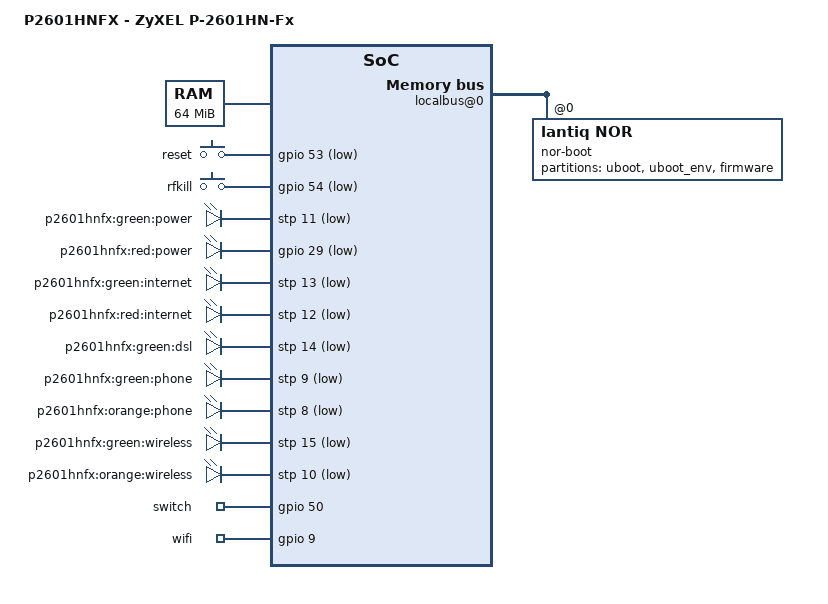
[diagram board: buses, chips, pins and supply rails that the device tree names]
/dts-v1/;

/include/ "ar9.dtsi"

/ {
	model = "P2601HNFX - ZyXEL P-2601HN-Fx";

	chosen {
		bootargs = "console=ttyLTQ0,115200 init=/etc/preinit";

		leds {
			boot = &power_green;
			failsafe = &power_red;
			running = &power_green;

			dsl = &dsl;
			internet = &online;
			wifi = &wifi;
		};
	};

	memory@0 {
		reg = <0x0 0x4000000>;
	};

	fpi@10000000 {
		#address-cells = <1>;
		#size-cells = <1>;
		localbus@0 {
			#address-cells = <2>;
			#size-cells = <1>;
			ranges = <0 0 0x0 0x3ffffff
				  1 0 0x4000000 0x4000010>;
			compatible = "lantiq,localbus", "simple-bus";

			nor-boot@0 {
				compatible = "lantiq,nor";
				bank-width = <2>;
				reg = <0 0x0 0x2000000>;
				#address-cells = <1>;
				#size-cells = <1>;

				partition@0 {
					label = "uboot";
					reg = <0x00000 0x40000>;
					read-only;
				};

				partition@40000 {
					label = "uboot_env";
					reg = <0x40000 0x20000>;
					read-only;
				};

				partition@60000 {
					label = "firmware";
					reg = <0x60000 0xfa0000>;
				};
			};
		};

		gpio: pinmux@E100B10 {
			compatible = "lantiq,pinctrl-xr9";
			pinctrl-names = "default";
			pinctrl-0 = <&state_default>;

			#gpio-cells = <2>;
			gpio-controller;
			reg = <0xE100B10 0xA0>;

			state_default: pinmux {
				stp {
					lantiq,groups = "stp";
					lantiq,function = "stp";
					lantiq,pull = <2>;
					lantiq,open-drain = <0>;
					lantiq,output = <1>;
				};
				exin {
					lantiq,groups = "exin1";
					lantiq,function = "exin";
				};
				pci {
					lantiq,groups = "gnt1";
					lantiq,function = "pci";
				};
				conf_out {
					lantiq,pins = "io4", "io5", "io6";
					lantiq,open-drain;
					lantiq,pull = <0>;
				};
				mdio {
					lantiq,groups = "mdio";
					lantiq,function = "mdio";
				};
			};
		};

		etop@E180000 {
			phy-mode = "rmii";
		};

		ifxhcd@E101000 {
			status = "okay";
			gpios = <&gpio 9 0>;
		};

		stp: stp@E100BB0 {
			#gpio-cells = <2>;
			compatible = "lantiq,gpio-stp-xway";
			gpio-controller;
			reg = <0xE100BB0 0x40>;

			lantiq,shadow = <0xfff>;
			lantiq,groups = <0x3>;
		};

		pci@E105400 {
			lantiq,bus-clock = <33333333>;
			interrupt-map-mask = <0xf800 0x0 0x0 0x7>;
			interrupt-map = <0x7000 0 0 1 &icu0 29 1>;
			gpios-reset = <&gpio 21 0>;
			req-mask = <0x1>;
		};
	};

	gpio-keys-polled {
		compatible = "gpio-keys-polled";
		#address-cells = <1>;
		#size-cells = <0>;
		poll-interval = <100>;

		reset {
			label = "reset";
			gpios = <&gpio 53 1>;
			linux,code = <0x198>;
		};
		rfkill {
			label = "rfkill";
			gpios = <&gpio 54 1>;
			linux,code = <0xf7>;
		};
	};

	gpio-leds {
		compatible = "gpio-leds";

		power_green: power {
			label = "p2601hnfx:green:power";
			gpios = <&stp 11 1>;
			default-state = "keep";
		};
		power_red: power2 {
			label = "p2601hnfx:red:power";
			gpios = <&gpio 29 1>;
		};
		online: online {
			label = "p2601hnfx:green:internet";
			gpios = <&stp 13 1>;
		};
		online2 {
			label = "p2601hnfx:red:internet";
			gpios = <&stp 12 1>;
		};
		dsl: dsl {
			label = "p2601hnfx:green:dsl";
			gpios = <&stp 14 1>;
		};
		phone {
			label = "p2601hnfx:green:phone";
			gpios = <&stp 9 1>;
		};
		phone2 {
			label = "p2601hnfx:orange:phone";
			gpios = <&stp 8 1>;
		};
		wifi: wifi {
			label = "p2601hnfx:green:wireless";
			gpios = <&stp 15 1>;
		};
		wifi2 {
			label = "p2601hnfx:orange:wireless";
			gpios = <&stp 10 1>;
		};
	};

	gpio_export {
		compatible = "gpio-export";
		#size-cells = <0>;

		switch {
			gpio-export,name = "switch";
			gpio-export,output = <1>;
			gpios = <&gpio 50 0>;
		};
		usb {
			gpio-export,name = "wifi";
			gpio-export,output = <1>;
			gpios = <&gpio 9 0>;
		};
	};
};
